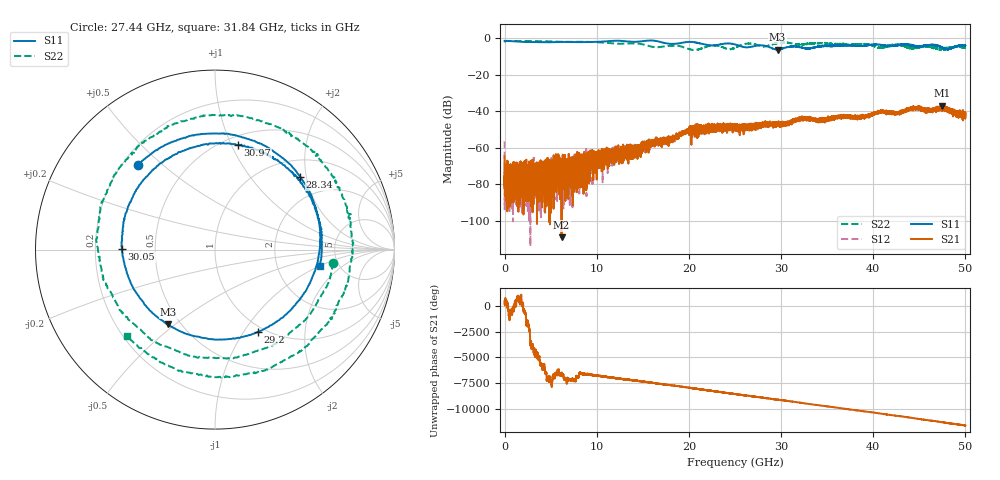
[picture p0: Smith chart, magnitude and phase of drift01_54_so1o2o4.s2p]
!Created with skrf (http://scikit-rf.org).
# Hz S RI R 50.0
!freq ReS11 ImS11 ReS21 ImS21 ReS12 ImS12 ReS22 ImS22
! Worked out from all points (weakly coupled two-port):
!   10001 points, 300 kHz to 50 GHz, reference 50 ohm
!   highest |S21| = -36.83 dB at 47.47 GHz (marker M1); lowest = -109.0 dB at 6.18 GHz (marker M2)
!   lowest |S11| = -6.2 dB at 29.62 GHz (marker M3), VSWR 2.93, Z = 21.6 - j23.7 ohm
!   |S11| at or under -10 dB: nowhere
!   |S22| runs from -6.5 to -1.4 dB; largest |S21 - S12| = 0.0035
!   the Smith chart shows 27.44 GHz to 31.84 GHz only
!   S11 on the Smith chart (normalised r, x): 27.44 GHz: 0.26, +0.42; 28.34 GHz: 1.39, +1.84; 29.2 GHz: 0.93, -1.16; 30.05 GHz: 0.32, +0.00; 30.97 GHz: 0.59, +1.06; 31.84 GHz: 3.59, -1.00
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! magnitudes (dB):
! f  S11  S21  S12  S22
! 300 kHz  -1.3  -64.5  -56.3  -2.1
! 275.3 MHz  -1.4  -77.5  -73.3  -1.4
! 6.18 GHz  -1.9  -109.0  -81.8  -1.8
! 8.335 GHz  -2.0  -73.1  -68.6  -1.8
! 9.25 GHz  -1.9  -68.3  -67.1  -1.9
! 12.19 GHz  -1.3  -61.3  -61.5  -2.8
! 14.49 GHz  -1.7  -62.2  -63.0  -2.8
! 16.67 GHz  -1.6  -56.2  -56.7  -4.8
! 19.94 GHz  -1.9  -50.4  -50.4  -5.7
! 22.62 GHz  -3.8  -48.9  -50.2  -3.8
! 25 GHz  -3.3  -49.6  -48.1  -5.1
! 27.44 GHz  -3.9  -47.9  -48.0  -3.6
! 28.34 GHz  -4.1  -46.3  -46.9  -4.2
! 29.2 GHz  -5.7  -46.6  -47.5  -3.1
! 29.62 GHz  -6.2  -46.8  -47.1  -2.5
! 30.05 GHz  -5.7  -45.8  -46.7  -2.3
! 30.97 GHz  -4.5  -46.3  -45.9  -2.5
! 31.84 GHz  -4.6  -44.4  -43.9  -3.2
! 33.34 GHz  -5.3  -43.7  -44.1  -2.7
! 41.67 GHz  -4.2  -40.1  -40.6  -4.2
! 47.47 GHz  -4.9  -36.8  -38.3  -6.1
! 50 GHz  -3.9  -40.5  -41.9  -5.3
